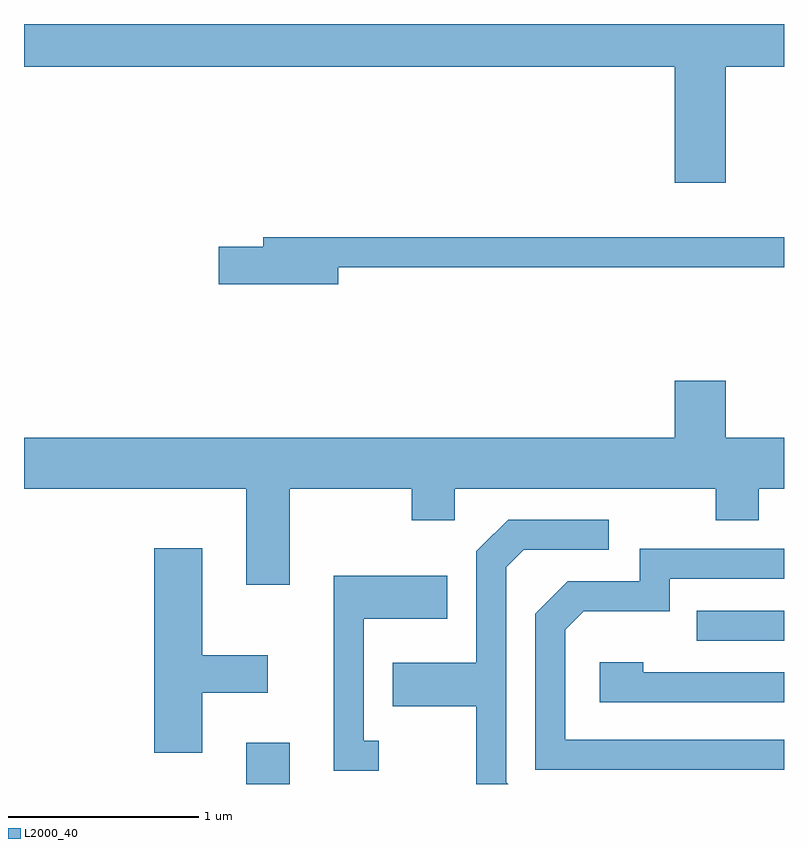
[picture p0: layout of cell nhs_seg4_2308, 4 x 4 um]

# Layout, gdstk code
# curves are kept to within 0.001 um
import gdstk
lib = gdstk.Library(unit=1e-6, precision=1e-09)
def R(c, l, rs):  # rectangles x0, y0, x1, y1
    for r in rs: c.add(gdstk.rectangle(r[:2], r[2:], *l))
def P(c, l, *ps):  # polygons
    for p in ps: c.add(gdstk.Polygon(p, *l))
L2000_40 = (2000, 40)

nhs_seg4_2308 = lib.new_cell('nhs_seg4_2308')
R(nhs_seg4_2308, L2000_40, [(252.781,1381.982,253.009,1382.199), (255.153,1382.736,255.611,1382.894)])
P(nhs_seg4_2308, L2000_40, [(255.304,1385.756),(255.611,1385.756),(255.611,1385.982),(251.611,1385.982),(251.611,1385.756),(255.036,1385.756),(255.036,1385.146),(255.304,1385.146)],
  [(253.264,1384.701),(255.611,1384.701),(255.611,1384.859),(252.871,1384.859),(252.871,1384.809),(252.636,1384.809),(252.636,1384.611),(253.264,1384.611)],
  [(253.009,1383.536),(253.651,1383.536),(253.651,1383.371),(253.879,1383.371),(253.879,1383.536),(255.251,1383.536),(255.251,1383.371),(255.479,1383.371),(255.479,1383.536),(255.611,1383.536),(255.611,1383.804),(255.304,1383.804),(255.304,1384.104),(255.036,1384.104),(255.036,1383.804),(251.611,1383.804),(251.611,1383.536),(252.781,1383.536),(252.781,1383.031),(253.009,1383.031)],
  [(254.149,1381.992),(254.149,1383.124),(254.242,1383.216),(254.688,1383.216),(254.688,1383.374),(254.159,1383.374),(253.991,1383.207),(253.991,1382.619),(253.551,1382.619),(253.551,1382.391),(253.991,1382.391),(253.991,1381.982),(254.159,1381.982)],
  [(252.549,1382.461),(252.894,1382.461),(252.894,1382.659),(252.549,1382.659),(252.549,1383.224),(252.296,1383.224),(252.296,1382.146),(252.549,1382.146)],
  [(255.611,1382.214),(254.459,1382.214),(254.459,1382.794),(254.557,1382.891),(255.009,1382.891),(255.009,1383.061),(255.611,1383.061),(255.611,1383.219),(254.851,1383.219),(254.851,1383.049),(254.474,1383.049),(254.301,1382.877),(254.301,1382.056),(255.611,1382.056)],
  [(253.478,1382.209),(253.399,1382.209),(253.399,1382.851),(253.839,1382.851),(253.839,1383.079),(253.241,1383.079),(253.241,1382.051),(253.478,1382.051)],
  [(255.611,1382.569),(254.869,1382.569),(254.869,1382.624),(254.641,1382.624),(254.641,1382.411),(255.611,1382.411)])

lib.write_gds('nhs_seg4_2308.gds')
